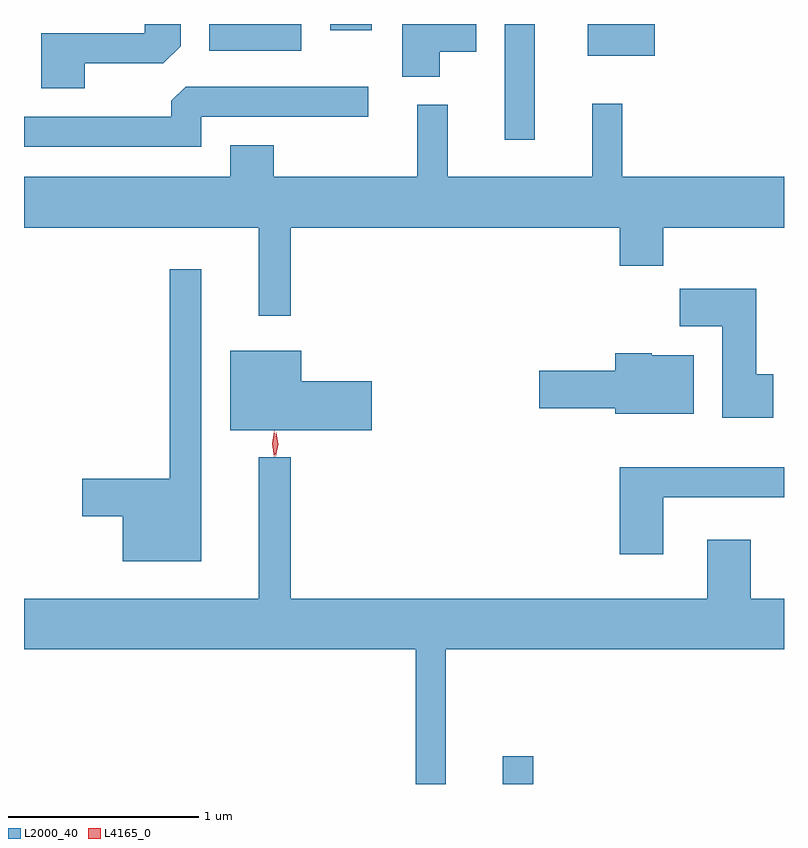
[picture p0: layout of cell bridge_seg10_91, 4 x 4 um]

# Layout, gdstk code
import gdstk
lib = gdstk.Library(unit=1e-6, precision=1e-09)
def R(c, l, rs):  # rectangles x0, y0, x1, y1
    for r in rs: c.add(gdstk.rectangle(r[:2], r[2:], *l))
def P(c, l, *ps):  # polygons
    for p in ps: c.add(gdstk.Polygon(p, *l))
L2000_40 = (2000, 40)
L4165_0 = (4165, 0)

bridge_seg10_91 = lib.new_cell('bridge_seg10_91')
R(bridge_seg10_91, L2000_40, [(1537.456,2170.928,1537.614,2171.073), (1537.466,2174.318,1537.624,2174.928), (1537.901,2174.761,1538.254,2174.928), (1535.911,2174.786,1536.394,2174.928), (1536.546,2174.896,1536.764,2174.928)])
P(bridge_seg10_91, L2000_40, [(1535.254,2174.721),(1535.669,2174.721),(1535.759,2174.812),(1535.759,2174.928),(1535.571,2174.928),(1535.571,2174.879),(1535.026,2174.879),(1535.026,2174.591),(1535.254,2174.591)],
  [(1537.124,2174.781),(1537.314,2174.781),(1537.314,2174.928),(1536.926,2174.928),(1536.926,2174.651),(1537.124,2174.651)],
  [(1535.869,2174.441),(1536.748,2174.441),(1536.748,2174.599),(1535.787,2174.599),(1535.711,2174.524),(1535.711,2174.439),(1534.935,2174.439),(1534.935,2174.281),(1535.869,2174.281)],
  [(1536.339,2173.856),(1538.071,2173.856),(1538.071,2173.656),(1538.299,2173.656),(1538.299,2173.856),(1538.935,2173.856),(1538.935,2174.124),(1538.084,2174.124),(1538.084,2174.508),(1537.926,2174.508),(1537.926,2174.124),(1537.164,2174.124),(1537.164,2174.503),(1537.006,2174.503),(1537.006,2174.124),(1536.249,2174.124),(1536.249,2174.289),(1536.021,2174.289),(1536.021,2174.124),(1534.935,2174.124),(1534.935,2173.856),(1536.171,2173.856),(1536.171,2173.393),(1536.339,2173.393)],
  [(1535.869,2173.638),(1535.701,2173.638),(1535.701,2172.534),(1535.241,2172.534),(1535.241,2172.336),(1535.456,2172.336),(1535.456,2172.101),(1535.869,2172.101)],
  [(1538.879,2173.084),(1538.789,2173.084),(1538.789,2173.534),(1538.386,2173.534),(1538.386,2173.336),(1538.611,2173.336),(1538.611,2172.856),(1538.879,2172.856)],
  [(1536.764,2173.049),(1536.394,2173.049),(1536.394,2173.209),(1536.021,2173.209),(1536.021,2172.791),(1536.764,2172.791)],
  [(1538.459,2173.184),(1538.24,2173.184),(1538.24,2173.194),(1538.046,2173.194),(1538.046,2173.104),(1537.646,2173.104),(1537.646,2172.906),(1538.046,2172.906),(1538.046,2172.876),(1538.459,2172.876)],
  [(1537.154,2171.636),(1538.935,2171.636),(1538.935,2171.904),(1538.759,2171.904),(1538.759,2172.214),(1538.531,2172.214),(1538.531,2171.904),(1536.339,2171.904),(1536.339,2172.648),(1536.171,2172.648),(1536.171,2171.904),(1534.935,2171.904),(1534.935,2171.636),(1536.996,2171.636),(1536.996,2170.928),(1537.154,2170.928)],
  [(1538.299,2172.436),(1538.935,2172.436),(1538.935,2172.594),(1538.071,2172.594),(1538.071,2172.136),(1538.299,2172.136)])
P(bridge_seg10_91, L4165_0, [(1536.26,2172.653),(1536.252,2172.716),(1536.262,2172.779),(1536.262,2172.78),(1536.263,2172.779),(1536.272,2172.716),(1536.261,2172.653),(1536.261,2172.653)],
  [(1536.252,2172.65),(1536.242,2172.718),(1536.251,2172.785),(1536.252,2172.786),(1536.252,2172.785),(1536.262,2172.718),(1536.253,2172.65),(1536.253,2172.65)])

lib.write_gds('bridge_seg10_91.gds')
